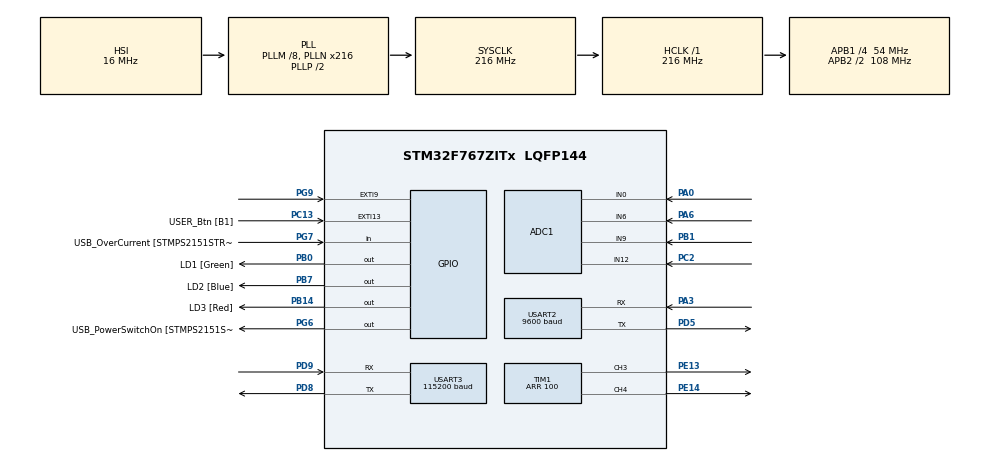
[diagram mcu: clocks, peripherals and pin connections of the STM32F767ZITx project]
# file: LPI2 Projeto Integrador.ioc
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ADC1.Channel-0\#ChannelRegularConversion=ADC_CHANNEL_0
ADC1.ClockPrescaler=ADC_CLOCK_SYNC_PCLK_DIV4
ADC1.EOCSelection=ADC_EOC_SEQ_CONV
ADC1.ExternalTrigConv=ADC_SOFTWARE_START
ADC1.NbrOfConversionFlag=1
ADC1.Rank-0\#ChannelRegularConversion=1
ADC1.SamplingTime-0\#ChannelRegularConversion=ADC_SAMPLETIME_3CYCLES
ADC1.master=1
Mcu.Family=STM32F7
Mcu.Name=STM32F767ZITx
Mcu.Package=LQFP144
NVIC.ADC_IRQn=true\:0\:0\:false\:false\:true\:true\:true
NVIC.EXTI15_10_IRQn=true\:0\:0\:false\:false\:true\:true\:true
NVIC.EXTI9_5_IRQn=true\:1\:0\:true\:false\:true\:true\:true
NVIC.PriorityGroup=NVIC_PRIORITYGROUP_4
NVIC.USART2_IRQn=true\:0\:0\:false\:false\:true\:true\:true
NVIC.USART3_IRQn=true\:0\:0\:false\:false\:true\:true\:true
PA0/WKUP.Signal=ADCx_IN0
PA1.GPIO_Label=RMII_REF_CLK [LAN8742A-CZ-TR_REFCLK0]
PA1.Signal=ETH_REF_CLK
PA10.GPIO_Label=USB_ID
PA10.Signal=USB_OTG_FS_ID
PA11.GPIO_Label=USB_DM
PA11.Signal=USB_OTG_FS_DM
PA12.GPIO_Label=USB_DP
PA12.Signal=USB_OTG_FS_DP
PA13.GPIO_Label=TMS
PA13.Mode=Serial_Wire
PA13.Signal=SYS_JTMS-SWDIO
PA14.GPIO_Label=TCK
PA14.Mode=Serial_Wire
PA14.Signal=SYS_JTCK-SWCLK
PA2.GPIO_Label=RMII_MDIO [LAN8742A-CZ-TR_MDIO]
PA2.Signal=ETH_MDIO
PA3.Mode=Asynchronous
PA3.Signal=USART2_RX
PA6.Signal=ADCx_IN6
PA7.GPIO_Label=RMII_CRS_DV [LAN8742A-CZ-TR_CRS_DV]
PA7.Signal=ETH_CRS_DV
PA8.GPIO_Label=USB_SOF [TP1]
PA8.Signal=USB_OTG_FS_SOF
PA9.GPIO_Label=USB_VBUS
PA9.Signal=USB_OTG_FS_VBUS
PB0.GPIO_Label=LD1 [Green]
PB0.Signal=GPIO_Output
PB1.Signal=ADCx_IN9
PB13.GPIO_Label=RMII_TXD1 [LAN8742A-CZ-TR_TXD1]
PB13.Signal=ETH_TXD1
PB14.GPIO_Label=LD3 [Red]
PB14.Signal=GPIO_Output
PB3.GPIO_Label=SW0
PB3.Signal=SYS_JTDO-SWO
PB7.GPIO_Label=LD2 [Blue]
PB7.Signal=GPIO_Output
PC1.GPIO_Label=RMII_MDC [LAN8742A-CZ-TR_MDC]
PC1.Signal=ETH_MDC
PC13.GPIO_Label=USER_Btn [B1]
PC13.Signal=GPXTI13
PC14/OSC32_IN.Signal=RCC_OSC32_IN
PC15/OSC32_OUT.Signal=RCC_OSC32_OUT
PC2.Signal=ADCx_IN12
PC4.GPIO_Label=RMII_RXD0 [LAN8742A-CZ-TR_RXD0]
PC4.Signal=ETH_RXD0
PC5.GPIO_Label=RMII_RXD1 [LAN8742A-CZ-TR_RXD1]
PC5.Signal=ETH_RXD1
PD5.Mode=Asynchronous
PD5.Signal=USART2_TX
PD8.Mode=Asynchronous
PD8.Signal=USART3_TX
PD9.Mode=Asynchronous
PD9.Signal=USART3_RX
PE13.Signal=S_TIM1_CH3
PE14.Signal=S_TIM1_CH4
PG11.GPIO_Label=RMII_TX_EN [LAN8742A-CZ-TR_TXEN]
PG11.Signal=ETH_TX_EN
PG13.GPIO_Label=RMII_TXD0 [LAN8742A-CZ-TR_TXD0]
PG13.Signal=ETH_TXD0
PG6.GPIO_Label=USB_PowerSwitchOn [STMPS2151STR_EN]
PG6.Signal=GPIO_Output
PG7.GPIO_Label=USB_OverCurrent [STMPS2151STR_FAULT]
PG7.Signal=GPIO_Input
PG9.GPIO_ModeDefaultEXTI=GPIO_MODE_IT_RISING_FALLING
PG9.Signal=GPXTI9
PH0/OSC_IN.GPIO_Label=MCO [STM32F103CBT6_PA8]
PH0/OSC_IN.Signal=RCC_OSC_IN
PH1/OSC_OUT.Signal=RCC_OSC_OUT
ProjectManager.HeapSize=0x200
ProjectManager.StackSize=0x400
ProjectManager.TargetToolchain=MDK-ARM V5.27
RCC.48MHZClocksFreq_Value=24000000
RCC.AHBFreq_Value=216000000
RCC.APB1CLKDivider=RCC_HCLK_DIV4
RCC.APB1Freq_Value=54000000
RCC.APB1TimFreq_Value=108000000
RCC.APB2CLKDivider=RCC_HCLK_DIV2
RCC.APB2Freq_Value=108000000
RCC.APB2TimFreq_Value=216000000
RCC.CortexFreq_Value=216000000
RCC.HCLKFreq_Value=216000000
RCC.HSE_VALUE=16000000
RCC.HSI_VALUE=16000000
RCC.LSE_VALUE=32768
RCC.PLLM=8
RCC.PLLMUL=RCC_PLL_MUL9
RCC.PLLN=216
RCC.PRESCALERUSB=RCC_USBCLKSOURCE_PLL_DIV1_5
RCC.SYSCLKFreq_VALUE=216000000
RCC.SYSCLKSource=RCC_SYSCLKSOURCE_PLLCLK
RCC.SYSCLKSourceVirtual=RCC_SYSCLKSOURCE_PLLCLK
RCC.USBFreq_Value=216000000
RCC.VCOOutputFreq_Value=432000000
SH.ADCx_IN0.0=ADC1_IN0,IN0
SH.ADCx_IN12.0=ADC1_IN12,IN12
SH.ADCx_IN6.0=ADC1_IN6,IN6
SH.ADCx_IN9.0=ADC1_IN9,IN9
SH.S_TIM1_CH3.0=TIM1_CH3,PWM Generation3 CH3
SH.S_TIM1_CH4.0=TIM1_CH4,PWM Generation4 CH4
TIM1.AutoReloadPreload=TIM_AUTORELOAD_PRELOAD_ENABLE
TIM1.Channel-PWM\ Generation3\ CH3=TIM_CHANNEL_3
TIM1.Channel-PWM\ Generation4\ CH4=TIM_CHANNEL_4
TIM1.Period=100
TIM1.Pulse-PWM\ Generation3\ CH3=50
TIM1.Pulse-PWM\ Generation4\ CH4=50
TIM10.AutoReloadPreload=TIM_AUTORELOAD_PRELOAD_ENABLE
TIM10.Period=216
TIM10.Prescaler=1000
TIM6.AutoReloadPreload=TIM_AUTORELOAD_PRELOAD_ENABLE
TIM6.Period=16000
TIM6.Prescaler=255
TIM6.TIM_MasterOutputTrigger=TIM_TRGO_UPDATE
USART2.BaudRate=9600
USART2.VirtualMode-Asynchronous=VM_ASYNC
USART3.BaudRate=115200
USART3.VirtualMode-Asynchronous=VM_ASYNC
VP_TIM10_VS_ClockSourceINT.Mode=Enable_Timer
VP_TIM6_VS_ClockSourceINT.Mode=Enable_Timer
board=NUCLEO-F767ZI

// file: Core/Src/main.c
/* USER CODE BEGIN Header */
/**
  ******************************************************************************
  * @file           : main.c
  * @brief          : Main program body
  ******************************************************************************
  * @attention
  *
  * <h2><center>&copy; Copyright (c) 2021 STMicroelectronics.
  * All rights reserved.</center></h2>
  *
  * This software component is licensed by ST under BSD 3-Clause license,
  * the "License"; You may not use this file except in compliance with the
  * License. You may obtain a copy of the License at:
  *                        opensource.org/licenses/BSD-3-Clause
  *
  ******************************************************************************
  */
/* USER CODE END Header */
#include "main.h"
#include "adc.h"
#include "tim.h"
#include "usart.h"
#include "gpio.h"

/* USER CODE BEGIN Includes */
#include "pwm.h"
#include "encoder.h"
#include "control.h"
#include "parser.h"

/* USER CODE END Includes */

/* USER CODE BEGIN PD */

	//encoder motor horizontal
	GPIO_Port CLK={GPIOG_BASE, GPIO_PIN_9};
	GPIO_Port DT={GPIOE_BASE, GPIO_PIN_8};
	Encoder_t encoder;

/* USER CODE END PD */

/* USER CODE BEGIN PV */
char command[128];
/* USER CODE END PV */

void SystemClock_Config(void);

int main(void)
{

  /* MCU Configuration--------------------------------------------------------*/

  /* Reset of all peripherals, Initializes the Flash interface and the Systick. */
  HAL_Init();

  /* Configure the system clock */
  SystemClock_Config();

  /* Initialize all configured peripherals */
  MX_GPIO_Init();
  MX_ADC1_Init();
  MX_TIM6_Init();
  MX_TIM1_Init();
  MX_TIM10_Init();
  MX_USART3_UART_Init();
  MX_USART2_UART_Init();
  /* USER CODE BEGIN 2 */
	init_UART2();
  /* USER CODE END 2 */

  /* Infinite loop */
  /* USER CODE BEGIN WHILE */
	//encoder motor horizontal
	encoderInit(&encoder, CLK, DT, 1920*2);

	//sensores LDR																											pinos de configuração do ADC
	ADC_Port sensorCima={&hadc1, ADC_CHANNEL_0};
	ADC_Port sensorBaixo={&hadc1, ADC_CHANNEL_12};
	ADC_Port sensorEsq={&hadc1, ADC_CHANNEL_9};
	ADC_Port sensorDir={&hadc1, ADC_CHANNEL_6};

	//motores
	PWM_Port MV={&htim1, TIM_CHANNEL_4};
	PWM_Port MH={&htim1, TIM_CHANNEL_3};

	GPIO_Port refMV={GPIOE_BASE, GPIO_PIN_15};
	GPIO_Port refMH={GPIOE_BASE, GPIO_PIN_0};

	PWM_Bus motorVertical={MV, refMV};
	PWM_Bus motorHorizontal={MH, refMH};
  while (1)
  {
		#define LIMITE_SUPERIOR_LUZ 600
		#define LIMITE_INFERIOR_LUZ 100
		#define LIMITE_VELOCIDADE_MAXIMA 350

		#define AUTOMATIC 1

		#define NOITE 4000

		volatile uint32_t valor[4];

		moduloBluetooth(command);
		//receber//
		if(receve_flag){
		receve_flag = 0;
		for (uint8_t i=0;i<(1<<7);i++){
			if(Rx_Buffer[i]=='\0')
				break;
			command[i] = Rx_Buffer[i];
		}
		//parsing (dentro: execução, transmissão)//
		parser(command, motorVertical, motorHorizontal);
		//HAL_GPIO_TogglePin(GPIOB, GPIO_PIN_14);
		}

		if(control()==AUTOMATIC){
			onOffControl(sensorBaixo, sensorCima, sensorEsq, sensorDir, motorHorizontal, motorVertical,LIMITE_INFERIOR_LUZ, LIMITE_SUPERIOR_LUZ);
		}

		if(averageLight(sensorBaixo, sensorCima, sensorEsq, sensorDir)>NOITE){
			resetControl(encoder, motorHorizontal, LIMITE_INFERIOR_LUZ);
		}
    /* USER CODE END WHILE */

  }
}

void SystemClock_Config(void)
{
  RCC_OscInitTypeDef RCC_OscInitStruct = {0};
  RCC_ClkInitTypeDef RCC_ClkInitStruct = {0};
  RCC_PeriphCLKInitTypeDef PeriphClkInitStruct = {0};

  /** Configure the main internal regulator output voltage
  */
  __HAL_RCC_PWR_CLK_ENABLE();
  __HAL_PWR_VOLTAGESCALING_CONFIG(PWR_REGULATOR_VOLTAGE_SCALE1);
  /** Initializes the RCC Oscillators according to the specified parameters
  * in the RCC_OscInitTypeDef structure.
  */
  RCC_OscInitStruct.OscillatorType = RCC_OSCILLATORTYPE_HSI;
  RCC_OscInitStruct.HSIState = RCC_HSI_ON;
  RCC_OscInitStruct.HSICalibrationValue = RCC_HSICALIBRATION_DEFAULT;
  RCC_OscInitStruct.PLL.PLLState = RCC_PLL_ON;
  RCC_OscInitStruct.PLL.PLLSource = RCC_PLLSOURCE_HSI;
  RCC_OscInitStruct.PLL.PLLM = 8;
  RCC_OscInitStruct.PLL.PLLN = 216;
  RCC_OscInitStruct.PLL.PLLP = RCC_PLLP_DIV2;
  RCC_OscInitStruct.PLL.PLLQ = 2;
  if (HAL_RCC_OscConfig(&RCC_OscInitStruct) != HAL_OK)
  {
    Error_Handler();
  }
  /** Activate the Over-Drive mode
  */
  if (HAL_PWREx_EnableOverDrive() != HAL_OK)
  {
    Error_Handler();
  }
  /** Initializes the CPU, AHB and APB buses clocks
  */
  RCC_ClkInitStruct.ClockType = RCC_CLOCKTYPE_HCLK|RCC_CLOCKTYPE_SYSCLK
                              |RCC_CLOCKTYPE_PCLK1|RCC_CLOCKTYPE_PCLK2;
  RCC_ClkInitStruct.SYSCLKSource = RCC_SYSCLKSOURCE_PLLCLK;
  RCC_ClkInitStruct.AHBCLKDivider = RCC_SYSCLK_DIV1;
  RCC_ClkInitStruct.APB1CLKDivider = RCC_HCLK_DIV4;
  RCC_ClkInitStruct.APB2CLKDivider = RCC_HCLK_DIV2;

  if (HAL_RCC_ClockConfig(&RCC_ClkInitStruct, FLASH_LATENCY_7) != HAL_OK)
  {
    Error_Handler();
  }
  PeriphClkInitStruct.PeriphClockSelection = RCC_PERIPHCLK_USART2|RCC_PERIPHCLK_USART3;
  PeriphClkInitStruct.Usart2ClockSelection = RCC_USART2CLKSOURCE_PCLK1;
  PeriphClkInitStruct.Usart3ClockSelection = RCC_USART3CLKSOURCE_PCLK1;
  if (HAL_RCCEx_PeriphCLKConfig(&PeriphClkInitStruct) != HAL_OK)
  {
    Error_Handler();
  }
}

/* USER CODE BEGIN 4 */

void HAL_GPIO_EXTI_Callback(uint16_t GPIO_Pin){
		if(GPIO_Pin == GPIO_PIN_9){
			updatePosition(&encoder);
		}
}

/* USER CODE END 4 */

void Error_Handler(void)
{
  /* USER CODE BEGIN Error_Handler_Debug */
  /* User can add his own implementation to report the HAL error return state */
  __disable_irq();
  while (1)
  {
		//SE O DEBUG ESTIVER AQUI, ALGO CORREU MAL
  }
  /* USER CODE END Error_Handler_Debug */
}

/************************ (C) COPYRIGHT STMicroelectronics *****END OF FILE****/
